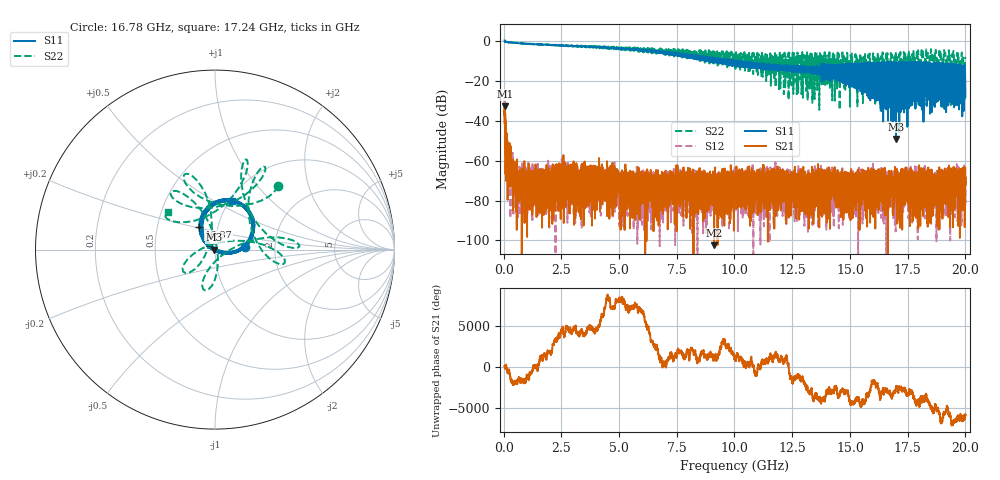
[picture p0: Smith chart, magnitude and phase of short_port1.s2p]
!Agilent Technologies,E8364A,US41440322,A.04.87.01
!Agilent E8364A: A.04.87.01
!Date: Tuesday, July 16, 2024 13:04:27
!Correction: S11(Full 2 Port SOLT,1,2) S21(Full 2 Port SOLT,1,2) S12(Full 2 Port SOLT,1,2) S22(Full 2 Port SOLT,1,2)
!S2P File: Measurements: S11, S21, S12, S22:
# Hz S  dB  R 50
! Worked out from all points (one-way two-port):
!   6401 points, 45 MHz to 20 GHz, reference 50 ohm
!   highest |S21| = -32.79 dB at 48.12 MHz (marker M1); lowest = -102.5 dB at 9.118 GHz (marker M2)
!   lowest |S11| = -49.1 dB at 17 GHz (marker M3), VSWR 1.01, Z = 49.7 + j0.032 ohm
!   |S11| at or under -10 dB: 10.09 GHz to 10.14 GHz (57.78 MHz wide, 0.571 % of centre); 10.15 GHz to 10.21 GHz (61.31 MHz wide, 0.602 % of centre); 10.22 GHz to end of sweep (the widest 3 of 23)
!   |S22| runs from -36.0 to 0.0 dB; largest |S21 - S12| = 0.029
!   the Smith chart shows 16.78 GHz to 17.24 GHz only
!   S11 on the Smith chart (normalised r, x): 16.78 GHz: 1.40, +0.04; 16.87 GHz: 0.81, +0.21; 17.24 GHz: 1.02, +0.60
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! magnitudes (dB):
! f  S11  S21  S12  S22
! 45 MHz  0.3  -41.4  -29.2  0.0
! 48.12 MHz  -0.1  -32.8  -38.8  0.0
! 213.4 MHz  -0.6  -56.7  -58.6  -0.5
! 475.3 MHz  -1.0  -62.6  -69.7  -0.9
! 656.1 MHz  -1.1  -72.7  -69.3  -1.0
! 2.58 GHz  -2.3  -72.9  -66.2  -2.3
! 3.372 GHz  -2.6  -69.0  -76.2  -2.6
! 4.36 GHz  -3.2  -72.5  -70.2  -3.9
! 5.199 GHz  -3.7  -86.4  -79.4  -3.4
! 6.016 GHz  -4.5  -67.7  -83.6  -3.5
! 6.699 GHz  -6.0  -77.7  -73.4  -4.4
! 9.118 GHz  -9.2  -102.5  -66.7  -10.5
! 10.02 GHz  -10.5  -71.8  -71.7  -6.5
! 13.35 GHz  -13.2  -73.1  -71.0  -5.9
! 13.84 GHz  -12.5  -70.3  -67.7  -12.5
! 16.68 GHz  -10.8  -77.0  -73.4  -11.6
! 16.78 GHz  -15.5  -70.0  -77.1  -6.1
! 16.87 GHz  -16.2  -73.9  -83.9  -14.5
! 17 GHz  -49.1  -70.6  -72.2  -9.4
! 17.24 GHz  -10.9  -76.7  -68.5  -9.6
! 19.9 GHz  -12.2  -66.9  -74.7  -7.4
! 20 GHz  -28.0  -71.8  -74.4  -8.5
